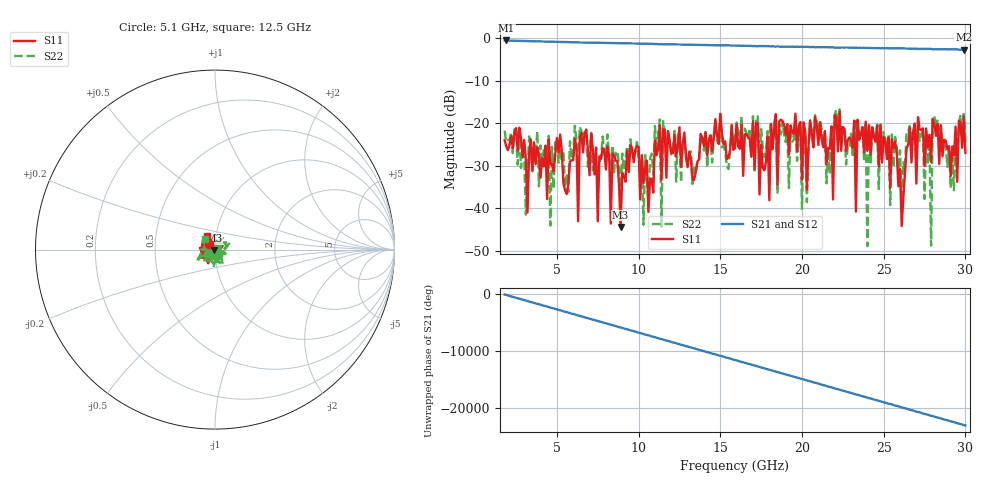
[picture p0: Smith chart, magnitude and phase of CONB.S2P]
! C:\Users\Focus\Desktop\Focus Traning\LOW FREQUENCY TUNERS\LOAD-PULL CALIBRATION\02-08-2024\focus_TRL\CONB.S2P
! TRL calculation phase shifted with thru length of 1.100000 ps
# GHZ S MA R 50
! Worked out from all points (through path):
!   283 points, 1.8 GHz to 30 GHz, reference 50 ohm
!   highest |S21| = -0.50 dB at 1.9 GHz (marker M1); lowest = -2.7 dB at 29.9 GHz (marker M2)
!   lowest |S11| = -44.4 dB at 8.9 GHz (marker M3), VSWR 1.01, Z = 49.5 - j0.334 ohm
!   |S11| at or under -10 dB: start of sweep to end of sweep
!   |S22| runs from -48.9 to -16.7 dB; largest |S21 - S12| = 0
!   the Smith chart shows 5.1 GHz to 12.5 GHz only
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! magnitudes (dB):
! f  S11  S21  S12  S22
! 1.8 GHz  -23.9  -0.5  -0.5  -21.7
! 1.9 GHz  -25.4  -0.5  -0.5  -24.3
! 4.6 GHz  -29.5  -0.8  -0.8  -44.0
! 6.5 GHz  -22.2  -1.0  -1.0  -21.8
! 8.9 GHz  -44.4  -1.1  -1.1  -36.6
! 11.2 GHz  -26.0  -1.4  -1.4  -22.2
! 11.4 GHz  -33.3  -1.4  -1.4  -44.3
! 11.5 GHz  -21.4  -1.4  -1.4  -19.5
! 15.9 GHz  -25.8  -1.7  -1.7  -23.6
! 20.6 GHz  -22.8  -2.0  -2.0  -22.3
! 23.2 GHz  -19.4  -2.3  -2.3  -19.0
! 23.3 GHz  -40.8  -2.2  -2.2  -25.5
! 23.9 GHz  -19.6  -2.3  -2.3  -20.2
! 24 GHz  -26.5  -2.2  -2.2  -48.9
! 24.1 GHz  -20.4  -2.3  -2.3  -20.7
! 25.3 GHz  -23.3  -2.3  -2.3  -22.6
! 26.1 GHz  -44.2  -2.4  -2.4  -40.4
! 27.8 GHz  -22.7  -2.5  -2.5  -23.7
! 27.9 GHz  -29.1  -2.5  -2.5  -48.8
! 28 GHz  -19.0  -2.6  -2.6  -18.8
! 29.9 GHz  -18.4  -2.7  -2.7  -17.8
! 30 GHz  -27.0  -2.6  -2.6  -24.4
